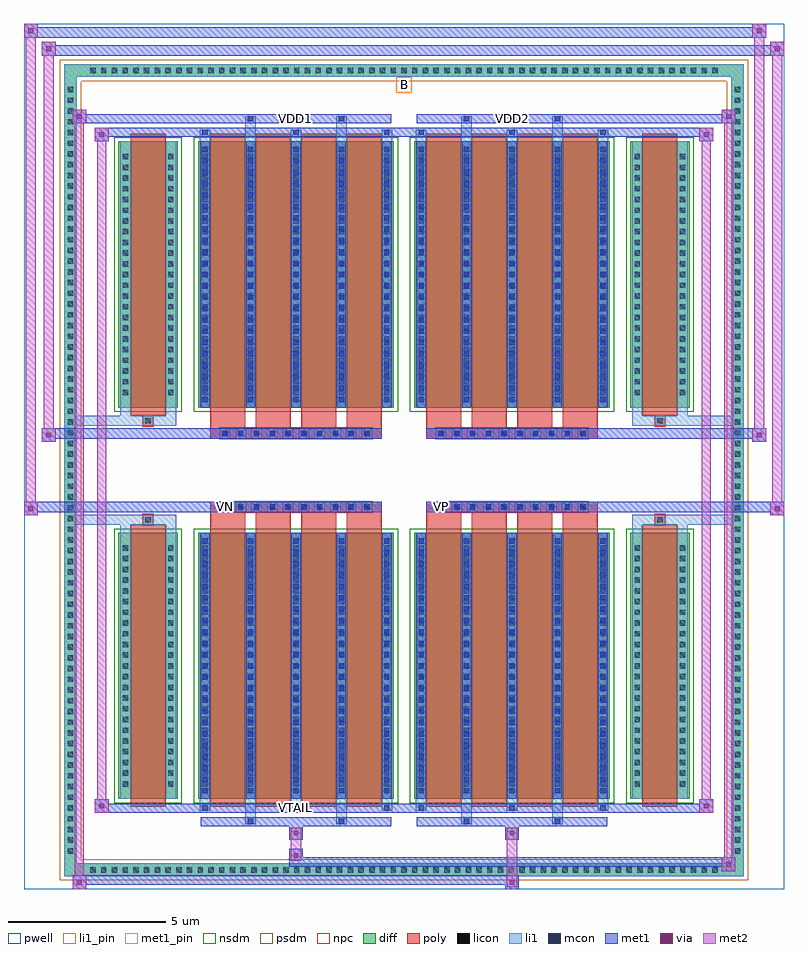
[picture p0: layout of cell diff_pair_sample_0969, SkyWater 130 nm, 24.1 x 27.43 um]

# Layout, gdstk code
import gdstk
lib = gdstk.Library(unit=1e-6, precision=5e-09)
def R(c, l, rs):  # rectangles x0, y0, x1, y1
    for r in rs: c.add(gdstk.rectangle(r[:2], r[2:], *l))
def A(c, l, x, y, w, h, nx, ny, dx, dy):  # array of equal rectangles
    R(c, l, [(x+i*dx, y+j*dy, x+i*dx+w, y+j*dy+h) for i in range(nx) for j in range(ny)])
def P(c, l, *ps):  # polygons
    for p in ps: c.add(gdstk.Polygon(p, *l))
pwell = (64, 44)
diff = (65, 20)
poly = (66, 20)
licon = (66, 44)
li1_pin = (67, 16)
li1 = (67, 20)
mcon = (67, 44)
met1_pin = (68, 16)
met1 = (68, 20)
via = (68, 44)
met2 = (69, 20)
nsdm = (93, 44)
psdm = (94, 20)
npc = (95, 20)

diff_pair_sample_0969 = lib.new_cell('diff_pair_sample_0969')
R(diff_pair_sample_0969, pwell, [(-12.05,-13.28,12.05,14.15), (-9.37,-11.47,-0.01,-0.805), (0.01,-11.47,9.37,-0.805), (-9.37,0.805,-0.01,11.47), (0.01,0.805,9.37,11.47)])
A(diff_pair_sample_0969, diff, -10.065, -12.88, 0.41, 0.41, 59, 2, 0.34, 25.35)
A(diff_pair_sample_0969, diff, -10.78, -12.275, 0.41, 0.41, 1, 72, 0, 0.34)
A(diff_pair_sample_0969, diff, 10.37, -12.275, 0.41, 0.41, 1, 72, 0, 0.34)
R(diff_pair_sample_0969, diff, [(-10.065,-12.88,10.065,-12.47), (-10.78,-12.275,-10.37,12.275), (10.37,-12.275,10.78,12.275), (-9.06,-10.425,-7.17,-1.985), (-6.53,-10.425,-0.32,-1.985), (0.32,-10.425,6.53,-1.985), (7.17,-10.425,9.06,-1.985), (-9.06,1.985,-7.17,10.425), (-6.53,1.985,-0.32,10.425), (0.32,1.985,6.53,10.425), (7.17,1.985,9.06,10.425), (-10.065,12.47,10.065,12.88)])
P(diff_pair_sample_0969, diff, [(10.78,12.88),(-10.78,12.88),(-10.78,-12.47),(-10.37,-12.47),(-10.37,12.47),(10.37,12.47),(10.37,-12.47),(-10.37,-12.47),(-10.78,-12.47),(-10.78,-12.88),(10.78,-12.88)])
A(diff_pair_sample_0969, poly, -6.14, -10.675, 1.11, 8.94, 4, 2, 1.44, 12.41)
A(diff_pair_sample_0969, poly, 0.71, -10.675, 1.11, 8.94, 4, 2, 1.44, 12.41)
A(diff_pair_sample_0969, poly, -6.14, -1.735, 1.11, 0.4, 4, 2, 1.44, 3.07)
A(diff_pair_sample_0969, poly, 0.71, -1.735, 1.11, 0.4, 4, 2, 1.44, 3.07)
A(diff_pair_sample_0969, poly, -5.84, -1.335, 0.33, 0.33, 10, 2, 0.5, 2.34)
A(diff_pair_sample_0969, poly, 1.01, -1.335, 0.33, 0.33, 10, 2, 0.5, 2.34)
R(diff_pair_sample_0969, poly, [(-8.67,-10.675,-7.56,-1.735), (7.56,-10.675,8.67,-1.735), (-8.28,-1.735,-7.95,-1.405), (-8.28,-1.735,-7.95,-1.405), (7.95,-1.735,8.28,-1.405), (7.95,-1.735,8.28,-1.405), (-6.14,-1.335,-0.71,-1.005), (0.71,-1.335,6.14,-1.005), (-6.14,1.005,-0.71,1.335), (0.71,1.005,6.14,1.335), (-8.28,1.405,-7.95,1.735), (-8.28,1.405,-7.95,1.735), (7.95,1.405,8.28,1.735), (7.95,1.405,8.28,1.735), (-8.67,1.735,-7.56,10.675), (7.56,1.735,8.67,10.675)])
A(diff_pair_sample_0969, licon, -9.945, -12.76, 0.17, 0.17, 59, 2, 0.34, 25.35)
A(diff_pair_sample_0969, licon, -10.66, -12.155, 0.17, 0.17, 1, 72, 0, 0.34)
A(diff_pair_sample_0969, licon, 10.49, -12.155, 0.17, 0.17, 1, 72, 0, 0.34)
A(diff_pair_sample_0969, licon, -8.92, -10.03, 0.17, 0.17, 1, 23, 0, 0.34)
A(diff_pair_sample_0969, licon, -7.48, -10.03, 0.17, 0.17, 1, 23, 0, 0.34)
A(diff_pair_sample_0969, licon, -6.39, -10.03, 0.17, 0.17, 5, 23, 1.44, 0.34)
A(diff_pair_sample_0969, licon, 0.46, -10.03, 0.17, 0.17, 5, 23, 1.44, 0.34)
A(diff_pair_sample_0969, licon, 7.31, -10.03, 0.17, 0.17, 1, 23, 0, 0.34)
A(diff_pair_sample_0969, licon, 8.75, -10.03, 0.17, 0.17, 1, 23, 0, 0.34)
A(diff_pair_sample_0969, licon, -5.76, -1.255, 0.17, 0.17, 10, 2, 0.5, 2.34)
A(diff_pair_sample_0969, licon, 1.09, -1.255, 0.17, 0.17, 10, 2, 0.5, 2.34)
A(diff_pair_sample_0969, licon, -8.92, 2.38, 0.17, 0.17, 1, 23, 0, 0.34)
A(diff_pair_sample_0969, licon, -7.48, 2.38, 0.17, 0.17, 1, 23, 0, 0.34)
A(diff_pair_sample_0969, licon, -6.39, 2.38, 0.17, 0.17, 5, 23, 1.44, 0.34)
A(diff_pair_sample_0969, licon, 0.46, 2.38, 0.17, 0.17, 5, 23, 1.44, 0.34)
A(diff_pair_sample_0969, licon, 7.31, 2.38, 0.17, 0.17, 1, 23, 0, 0.34)
A(diff_pair_sample_0969, licon, 8.75, 2.38, 0.17, 0.17, 1, 23, 0, 0.34)
R(diff_pair_sample_0969, licon, [(-8.2,-1.655,-8.03,-1.485), (8.03,-1.655,8.2,-1.485), (-8.2,1.485,-8.03,1.655), (8.03,1.485,8.2,1.655)])
R(diff_pair_sample_0969, li1_pin, [(-0.25,11.97,0.25,12.47)])
A(diff_pair_sample_0969, li1, -10.025, -12.84, 0.33, 0.33, 59, 2, 0.34, 25.35)
A(diff_pair_sample_0969, li1, -10.74, -12.235, 0.33, 0.33, 1, 72, 0, 0.34)
A(diff_pair_sample_0969, li1, 10.41, -12.235, 0.33, 0.33, 1, 72, 0, 0.34)
A(diff_pair_sample_0969, li1, -6.47, -10.8, 0.33, 0.375, 3, 2, 2.88, 21.225)
A(diff_pair_sample_0969, li1, -6.39, -10.8, 0.17, 0.17, 3, 2, 2.88, 21.43)
A(diff_pair_sample_0969, li1, 0.38, -10.8, 0.33, 0.375, 3, 2, 2.88, 21.225)
A(diff_pair_sample_0969, li1, 0.46, -10.8, 0.17, 0.17, 3, 2, 2.88, 21.43)
A(diff_pair_sample_0969, li1, -6.47, -10.425, 0.33, 8.44, 5, 2, 1.44, 12.41)
A(diff_pair_sample_0969, li1, 0.38, -10.425, 0.33, 8.44, 5, 2, 1.44, 12.41)
A(diff_pair_sample_0969, li1, -6.39, -10.25, 0.17, 0.17, 5, 23, 1.44, 0.36)
A(diff_pair_sample_0969, li1, -6.39, -10.25, 0.17, 8.09, 5, 2, 1.44, 12.41)
A(diff_pair_sample_0969, li1, 0.46, -10.25, 0.17, 0.17, 5, 23, 1.44, 0.36)
A(diff_pair_sample_0969, li1, 0.46, -10.25, 0.17, 8.09, 5, 2, 1.44, 12.41)
A(diff_pair_sample_0969, li1, -9, -10.11, 0.33, 0.33, 1, 23, 0, 0.34)
A(diff_pair_sample_0969, li1, -7.56, -10.11, 0.33, 0.33, 1, 23, 0, 0.34)
A(diff_pair_sample_0969, li1, -6.47, -10.11, 0.33, 0.33, 5, 23, 1.44, 0.34)
A(diff_pair_sample_0969, li1, 0.38, -10.11, 0.33, 0.33, 5, 23, 1.44, 0.34)
A(diff_pair_sample_0969, li1, 7.23, -10.11, 0.33, 0.33, 1, 23, 0, 0.34)
A(diff_pair_sample_0969, li1, 8.67, -10.11, 0.33, 0.33, 1, 23, 0, 0.34)
A(diff_pair_sample_0969, li1, -5.84, -1.335, 0.33, 0.33, 10, 2, 0.5, 2.34)
A(diff_pair_sample_0969, li1, 1.01, -1.335, 0.33, 0.33, 10, 2, 0.5, 2.34)
A(diff_pair_sample_0969, li1, -6.39, 2.16, 0.17, 0.17, 5, 23, 1.44, 0.36)
A(diff_pair_sample_0969, li1, 0.46, 2.16, 0.17, 0.17, 5, 23, 1.44, 0.36)
A(diff_pair_sample_0969, li1, -9, 2.3, 0.33, 0.33, 1, 23, 0, 0.34)
A(diff_pair_sample_0969, li1, -7.56, 2.3, 0.33, 0.33, 1, 23, 0, 0.34)
A(diff_pair_sample_0969, li1, -6.47, 2.3, 0.33, 0.33, 5, 23, 1.44, 0.34)
A(diff_pair_sample_0969, li1, 0.38, 2.3, 0.33, 0.33, 5, 23, 1.44, 0.34)
A(diff_pair_sample_0969, li1, 7.23, 2.3, 0.33, 0.33, 1, 23, 0, 0.34)
A(diff_pair_sample_0969, li1, 8.67, 2.3, 0.33, 0.33, 1, 23, 0, 0.34)
R(diff_pair_sample_0969, li1, [(-10.78,-12.88,-10.37,-12.47), (-10.78,-12.88,-10.37,-12.47), (-10.37,-12.88,10.37,-12.47), (10.37,-12.88,10.78,-12.47), (10.37,-12.88,10.78,-12.47), (-10.78,-12.47,-10.37,12.47), (10.37,-12.47,10.78,12.47), (-5.03,-11.23,-4.7,-10.425), (-4.95,-11.23,-4.78,-11.06), (-2.15,-11.23,-1.82,-10.425), (-2.07,-11.23,-1.9,-11.06), (1.82,-11.23,2.15,-10.425), (1.9,-11.23,2.07,-11.06), (4.7,-11.23,5.03,-10.425), (4.78,-11.23,4.95,-11.06), (-9,-10.425,-8.67,-1.985), (-7.56,-10.425,-7.23,-1.985), (7.23,-10.425,7.56,-1.985), (8.67,-10.425,9,-1.985), (-9,-1.985,-8.67,-1.405), (-7.56,-1.985,-7.23,-1.405), (7.23,-1.985,7.56,-1.405), (8.67,-1.985,9,-1.405), (-10.78,-1.735,-8.28,-1.405), (-9,-1.735,-8.28,-1.405), (-8.28,-1.735,-7.95,-1.405), (-7.95,-1.735,-7.23,-1.405), (7.23,-1.735,7.95,-1.405), (7.95,-1.735,8.28,-1.405), (7.95,-1.735,10.78,-1.405), (8.28,-1.735,9,-1.405), (-10.78,1.405,-8.28,1.735), (-9,1.405,-8.28,1.735), (-9,1.405,-8.67,1.985), (-8.28,1.405,-7.95,1.735), (-7.95,1.405,-7.23,1.735), (-7.56,1.405,-7.23,1.985), (7.23,1.405,7.95,1.735), (7.23,1.405,7.56,1.985), (7.95,1.405,8.28,1.735), (7.95,1.405,10.78,1.735), (8.28,1.405,9,1.735), (8.67,1.405,9,1.985), (-9,1.985,-8.67,10.425), (-7.56,1.985,-7.23,10.425), (7.23,1.985,7.56,10.425), (8.67,1.985,9,10.425), (-5.03,10.425,-4.7,11.23), (-2.15,10.425,-1.82,11.23), (1.82,10.425,2.15,11.23), (4.7,10.425,5.03,11.23), (-4.95,11.06,-4.78,11.23), (-2.07,11.06,-1.9,11.23), (1.9,11.06,2.07,11.23), (4.78,11.06,4.95,11.23), (-10.78,12.47,-10.37,12.88), (-10.78,12.47,-10.37,12.88), (-10.37,12.47,10.37,12.88), (10.37,12.47,10.78,12.88), (10.37,12.47,10.78,12.88)])
A(diff_pair_sample_0969, mcon, -6.39, -10.8, 0.17, 0.17, 3, 2, 2.88, 21.43)
A(diff_pair_sample_0969, mcon, 0.46, -10.8, 0.17, 0.17, 3, 2, 2.88, 21.43)
A(diff_pair_sample_0969, mcon, -6.39, -10.25, 0.17, 0.17, 5, 23, 1.44, 0.36)
A(diff_pair_sample_0969, mcon, 0.46, -10.25, 0.17, 0.17, 5, 23, 1.44, 0.36)
A(diff_pair_sample_0969, mcon, -5.76, -1.255, 0.17, 0.17, 10, 2, 0.5, 2.34)
A(diff_pair_sample_0969, mcon, 1.09, -1.255, 0.17, 0.17, 10, 2, 0.5, 2.34)
A(diff_pair_sample_0969, mcon, -6.39, 2.16, 0.17, 0.17, 5, 23, 1.44, 0.36)
A(diff_pair_sample_0969, mcon, 0.46, 2.16, 0.17, 0.17, 5, 23, 1.44, 0.36)
R(diff_pair_sample_0969, mcon, [(-4.95,-11.23,-4.78,-11.06), (-2.07,-11.23,-1.9,-11.06), (1.9,-11.23,2.07,-11.06), (4.78,-11.23,4.95,-11.06), (-4.95,11.06,-4.78,11.23), (-2.07,11.06,-1.9,11.23), (1.9,11.06,2.07,11.23), (4.78,11.06,4.95,11.23)])
R(diff_pair_sample_0969, met1_pin, [(-3.56,-10.84,-3.29,-10.57), (-5.81,-1.295,-5.54,-1.025), (1.04,-1.295,1.31,-1.025), (-3.56,11.02,-3.29,11.29), (3.29,11.02,3.56,11.29)])
A(diff_pair_sample_0969, met1, -6.45, -10.86, 0.29, 0.29, 3, 2, 2.88, 21.43)
A(diff_pair_sample_0969, met1, 0.4, -10.86, 0.29, 0.29, 3, 2, 2.88, 21.43)
A(diff_pair_sample_0969, met1, -6.45, -10.425, 0.29, 8.44, 5, 2, 1.44, 12.41)
A(diff_pair_sample_0969, met1, 0.4, -10.425, 0.29, 8.44, 5, 2, 1.44, 12.41)
A(diff_pair_sample_0969, met1, -6.45, -10.31, 0.29, 0.29, 5, 23, 1.44, 0.36)
A(diff_pair_sample_0969, met1, 0.4, -10.31, 0.29, 0.29, 5, 23, 1.44, 0.36)
A(diff_pair_sample_0969, met1, -5.82, -1.315, 0.29, 0.29, 10, 2, 0.5, 2.34)
A(diff_pair_sample_0969, met1, 1.03, -1.315, 0.29, 0.29, 10, 2, 0.5, 2.34)
A(diff_pair_sample_0969, met1, -6.45, 2.1, 0.29, 0.29, 5, 23, 1.44, 0.36)
A(diff_pair_sample_0969, met1, 0.4, 2.1, 0.29, 0.29, 5, 23, 1.44, 0.36)
R(diff_pair_sample_0969, met1, [(-10.51,-13.28,-10.08,-12.85), (3.21,-13.28,3.64,-12.85), (-10.51,-13.14,3.64,-12.85), (10.08,-12.71,10.51,-12.28), (-3.64,-12.57,10.51,-12.28), (-3.64,-12.43,-3.21,-12), (-3.64,-11.72,-3.21,-11.29), (3.21,-11.72,3.64,-11.29), (-6.45,-11.29,-0.4,-11), (-5.01,-11.29,-4.72,-11), (-2.13,-11.29,-1.84,-11), (0.4,-11.29,6.45,-11), (1.84,-11.29,2.13,-11), (4.72,-11.29,5.01,-11), (-9.8,-10.86,-9.37,-10.43), (-9.8,-10.86,-6.45,-10.57), (-6.45,-10.86,-0.4,-10.57), (-0.4,-10.86,0.4,-10.57), (0.4,-10.86,6.45,-10.57), (6.45,-10.86,9.8,-10.57), (9.37,-10.86,9.8,-10.43), (-12.05,-1.435,-11.62,-1.005), (11.62,-1.435,12.05,-1.005), (-12.05,-1.335,-0.71,-1.005), (-6.14,-1.335,-0.71,-1.005), (0.71,-1.335,6.14,-1.005), (0.71,-1.335,12.05,-1.005), (-11.48,0.905,-11.05,1.335), (11.05,0.905,11.48,1.335), (-11.48,1.005,-6.14,1.335), (-6.14,1.005,-0.71,1.335), (0.71,1.005,6.14,1.335), (6.14,1.005,11.48,1.335), (-9.8,10.43,-9.37,10.86), (9.37,10.43,9.8,10.86), (-9.8,10.57,-6.45,10.86), (-6.45,10.57,-0.4,10.86), (-0.4,10.57,0.4,10.86), (0.4,10.57,6.45,10.86), (6.45,10.57,9.8,10.86), (-10.51,11,-10.08,11.43), (-10.51,11,-6.45,11.29), (-6.45,11,-0.4,11.29), (-5.01,11,-4.72,11.29), (-2.13,11,-1.84,11.29), (0.4,11,6.45,11.29), (1.84,11,2.13,11.29), (4.72,11,5.01,11.29), (6.45,11,10.51,11.29), (10.08,11,10.51,11.43), (-11.48,13.15,-11.05,13.58), (-11.48,13.15,-9.37,13.48), (-9.37,13.15,9.37,13.48), (9.37,13.15,12.05,13.48), (11.62,13.15,12.05,13.58), (-12.05,13.72,-11.62,14.15), (-12.05,13.72,-9.37,14.05), (-9.37,13.72,9.37,14.05), (9.37,13.72,11.48,14.05), (11.05,13.72,11.48,14.15)])
R(diff_pair_sample_0969, via, [(-10.37,-13.14,-10.22,-12.99), (3.35,-13.14,3.5,-12.99), (10.22,-12.57,10.37,-12.42), (-3.5,-12.29,-3.35,-12.14), (-3.5,-11.58,-3.35,-11.43), (3.35,-11.58,3.5,-11.43), (-9.66,-10.72,-9.51,-10.57), (9.51,-10.72,9.66,-10.57), (-11.91,-1.295,-11.76,-1.145), (11.76,-1.295,11.91,-1.145), (-11.34,1.045,-11.19,1.195), (11.19,1.045,11.34,1.195), (-9.66,10.57,-9.51,10.72), (9.51,10.57,9.66,10.72), (-10.37,11.14,-10.22,11.29), (10.22,11.14,10.37,11.29), (-11.34,13.29,-11.19,13.44), (11.76,13.29,11.91,13.44), (-11.91,13.86,-11.76,14.01), (11.19,13.86,11.34,14.01)])
R(diff_pair_sample_0969, met2, [(-10.51,-13.28,-10.08,-12.85), (-10.44,-13.28,-10.15,11.43), (-10.15,-13.28,-10.08,-12.85), (-10.46,-13.23,-10.13,-12.9), (3.26,-13.23,3.59,-12.9), (3.26,-12.9,3.59,-11.67), (10.08,-12.71,10.51,-12.28), (10.15,-12.71,10.44,11.43), (10.44,-12.71,10.51,-12.28), (10.13,-12.66,10.46,-12.33), (-3.59,-12.38,-3.26,-12.05), (-3.59,-12.05,-3.26,-11.67), (-3.59,-11.67,-3.26,-11.34), (3.26,-11.67,3.59,-11.34), (-9.8,-10.86,-9.37,-10.43), (-9.73,-10.86,-9.44,10.86), (-9.44,-10.86,-9.37,-10.43), (9.37,-10.86,9.8,-10.43), (9.44,-10.86,9.73,10.86), (9.73,-10.86,9.8,-10.43), (-9.75,-10.81,-9.42,-10.48), (9.42,-10.81,9.75,-10.48), (-12.05,-1.435,-11.62,-1.005), (-12,-1.435,-11.67,14.15), (-11.67,-1.435,-11.62,-1.005), (11.62,-1.435,12.05,-1.005), (11.67,-1.435,12,13.58), (12,-1.435,12.05,-1.005), (-12,-1.385,-11.67,-1.055), (11.67,-1.385,12,-1.055), (-11.48,0.905,-11.05,1.335), (-11.43,0.905,-11.1,13.58), (-11.1,0.905,-11.05,1.335), (11.05,0.905,11.48,1.335), (11.1,0.905,11.43,14.15), (11.43,0.905,11.48,1.335), (-11.43,0.955,-11.1,1.285), (11.1,0.955,11.43,1.285), (-9.8,10.43,-9.37,10.86), (-9.44,10.43,-9.37,10.86), (9.37,10.43,9.8,10.86), (9.73,10.43,9.8,10.86), (-9.75,10.48,-9.42,10.81), (9.42,10.48,9.75,10.81), (-10.51,11,-10.08,11.43), (-10.15,11,-10.08,11.43), (10.08,11,10.51,11.43), (10.44,11,10.51,11.43), (-10.46,11.05,-10.13,11.38), (10.13,11.05,10.46,11.38), (-11.48,13.15,-11.05,13.58), (-11.1,13.15,-11.05,13.58), (11.62,13.15,12.05,13.58), (12,13.15,12.05,13.58), (-11.43,13.2,-11.1,13.53), (11.67,13.2,12,13.53), (-12.05,13.72,-11.62,14.15), (-11.67,13.72,-11.62,14.15), (11.05,13.72,11.48,14.15), (11.43,13.72,11.48,14.15), (-12,13.77,-11.67,14.1), (11.1,13.77,11.43,14.1)])
R(diff_pair_sample_0969, nsdm, [(-9.19,-10.555,-7.04,-1.855), (-6.66,-10.555,-0.19,-1.855), (0.19,-10.555,6.66,-1.855), (7.04,-10.555,9.19,-1.855), (-9.19,1.855,-7.04,10.555), (-6.66,1.855,-0.19,10.555), (0.19,1.855,6.66,10.555), (7.04,1.855,9.19,10.555)])
P(diff_pair_sample_0969, psdm, [(10.91,13.01),(-10.91,13.01),(-10.91,-12.34),(-10.24,-12.34),(-10.24,12.34),(10.24,12.34),(10.24,-12.34),(-10.24,-12.34),(-10.91,-12.34),(-10.91,-13.01),(10.91,-13.01)])
A(diff_pair_sample_0969, npc, -5.86, -1.355, 0.37, 0.37, 10, 2, 0.5, 2.34)
A(diff_pair_sample_0969, npc, 0.99, -1.355, 0.37, 0.37, 10, 2, 0.5, 2.34)
R(diff_pair_sample_0969, npc, [(-8.3,-1.755,-7.93,-1.385), (7.93,-1.755,8.3,-1.385), (-5.86,-1.355,-4.99,-0.985), (-5.86,-1.355,-4.99,-0.985), (-5.36,-1.355,-4.49,-0.985), (-5.36,-1.355,-4.49,-0.985), (-4.86,-1.355,-3.99,-0.985), (-4.86,-1.355,-3.99,-0.985), (-4.36,-1.355,-3.49,-0.985), (-4.36,-1.355,-3.49,-0.985), (-3.86,-1.355,-2.99,-0.985), (-3.86,-1.355,-2.99,-0.985), (-3.36,-1.355,-2.49,-0.985), (-3.36,-1.355,-2.49,-0.985), (-2.86,-1.355,-1.99,-0.985), (-2.86,-1.355,-1.99,-0.985), (-2.36,-1.355,-1.49,-0.985), (-2.36,-1.355,-1.49,-0.985), (-1.86,-1.355,-0.99,-0.985), (-1.86,-1.355,-0.99,-0.985), (0.99,-1.355,1.86,-0.985), (0.99,-1.355,1.86,-0.985), (1.49,-1.355,2.36,-0.985), (1.49,-1.355,2.36,-0.985), (1.99,-1.355,2.86,-0.985), (1.99,-1.355,2.86,-0.985), (2.49,-1.355,3.36,-0.985), (2.49,-1.355,3.36,-0.985), (2.99,-1.355,3.86,-0.985), (2.99,-1.355,3.86,-0.985), (3.49,-1.355,4.36,-0.985), (3.49,-1.355,4.36,-0.985), (3.99,-1.355,4.86,-0.985), (3.99,-1.355,4.86,-0.985), (4.49,-1.355,5.36,-0.985), (4.49,-1.355,5.36,-0.985), (4.99,-1.355,5.86,-0.985), (4.99,-1.355,5.86,-0.985), (-5.86,0.985,-4.99,1.355), (-5.86,0.985,-4.99,1.355), (-5.36,0.985,-4.49,1.355), (-5.36,0.985,-4.49,1.355), (-4.86,0.985,-3.99,1.355), (-4.86,0.985,-3.99,1.355), (-4.36,0.985,-3.49,1.355), (-4.36,0.985,-3.49,1.355), (-3.86,0.985,-2.99,1.355), (-3.86,0.985,-2.99,1.355), (-3.36,0.985,-2.49,1.355), (-3.36,0.985,-2.49,1.355), (-2.86,0.985,-1.99,1.355), (-2.86,0.985,-1.99,1.355), (-2.36,0.985,-1.49,1.355), (-2.36,0.985,-1.49,1.355), (-1.86,0.985,-0.99,1.355), (-1.86,0.985,-0.99,1.355), (0.99,0.985,1.86,1.355), (0.99,0.985,1.86,1.355), (1.49,0.985,2.36,1.355), (1.49,0.985,2.36,1.355), (1.99,0.985,2.86,1.355), (1.99,0.985,2.86,1.355), (2.49,0.985,3.36,1.355), (2.49,0.985,3.36,1.355), (2.99,0.985,3.86,1.355), (2.99,0.985,3.86,1.355), (3.49,0.985,4.36,1.355), (3.49,0.985,4.36,1.355), (3.99,0.985,4.86,1.355), (3.99,0.985,4.86,1.355), (4.49,0.985,5.36,1.355), (4.49,0.985,5.36,1.355), (4.99,0.985,5.86,1.355), (4.99,0.985,5.86,1.355), (-8.3,1.385,-7.93,1.755), (7.93,1.385,8.3,1.755)])
diff_pair_sample_0969.add(gdstk.Label('VTAIL', (-3.425,-10.705), layer=68, texttype=5))
diff_pair_sample_0969.add(gdstk.Label('VN', (-5.675,-1.16), layer=68, texttype=5))
diff_pair_sample_0969.add(gdstk.Label('VP', (1.175,-1.16), layer=68, texttype=5))
diff_pair_sample_0969.add(gdstk.Label('B', (0,12.22), layer=67, texttype=5))
diff_pair_sample_0969.add(gdstk.Label('VDD2', (3.425,11.155), layer=68, texttype=5))
diff_pair_sample_0969.add(gdstk.Label('VDD1', (-3.425,11.155), layer=68, texttype=5))

lib.write_gds('diff_pair_sample_0969.gds')
